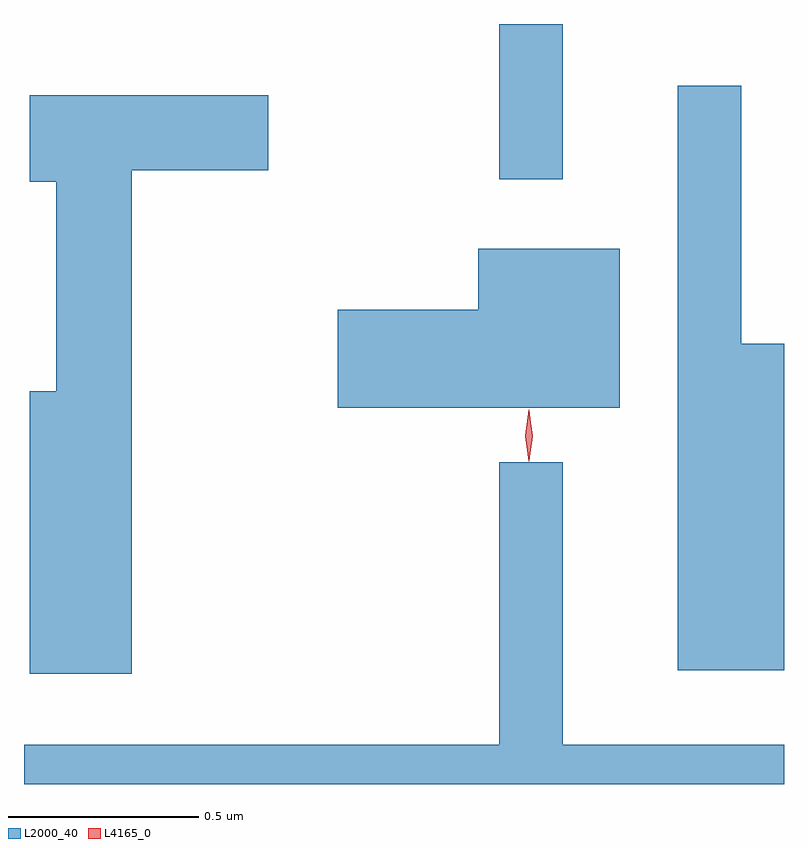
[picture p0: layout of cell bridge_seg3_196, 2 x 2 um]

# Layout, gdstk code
import gdstk
lib = gdstk.Library(unit=1e-6, precision=1e-09)
def R(c, l, rs):  # rectangles x0, y0, x1, y1
    for r in rs: c.add(gdstk.rectangle(r[:2], r[2:], *l))
def P(c, l, *ps):  # polygons
    for p in ps: c.add(gdstk.Polygon(p, *l))
L2000_40 = (2000, 40)
L4165_0 = (4165, 0)

bridge_seg3_196 = lib.new_cell('bridge_seg3_196')
R(bridge_seg3_196, L2000_40, [(873.211,1147.753,873.379,1148.161)])
P(bridge_seg3_196, L2000_40, [(873.961,1147.319),(873.849,1147.319),(873.849,1147.998),(873.681,1147.998),(873.681,1146.461),(873.961,1146.461)],
  [(872.244,1147.776),(872.604,1147.776),(872.604,1147.974),(871.976,1147.974),(871.976,1147.746),(872.046,1147.746),(872.046,1147.194),(871.976,1147.194),(871.976,1146.451),(872.244,1146.451)],
  [(873.529,1147.569),(873.156,1147.569),(873.156,1147.409),(872.786,1147.409),(872.786,1147.151),(873.529,1147.151)],
  [(873.961,1146.264),(873.379,1146.264),(873.379,1147.008),(873.211,1147.008),(873.211,1146.264),(871.961,1146.264),(871.961,1146.161),(873.961,1146.161)])
P(bridge_seg3_196, L4165_0, [(873.29,1147.013),(873.289,1147.014),(873.28,1147.076),(873.289,1147.139),(873.289,1147.14),(873.29,1147.139),(873.3,1147.076),(873.29,1147.014)],
  [(873.289,1147.01),(873.28,1147.078),(873.289,1147.146),(873.289,1147.146),(873.29,1147.146),(873.299,1147.078),(873.29,1147.01),(873.29,1147.01)])

lib.write_gds('bridge_seg3_196.gds')
